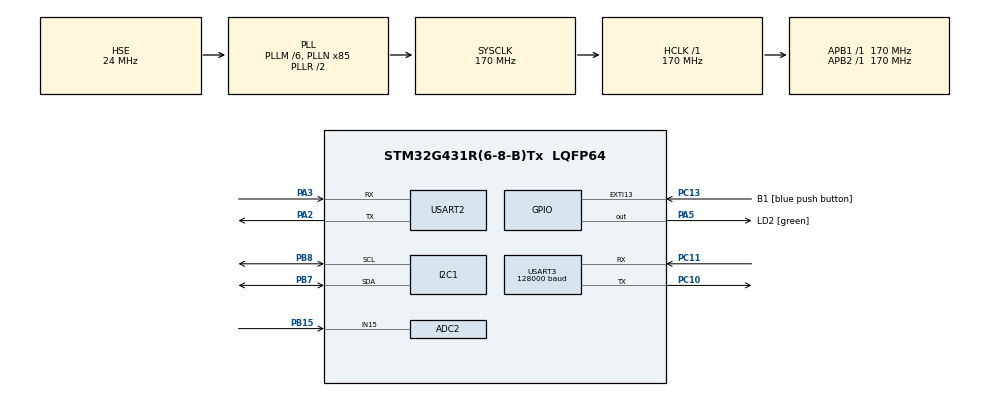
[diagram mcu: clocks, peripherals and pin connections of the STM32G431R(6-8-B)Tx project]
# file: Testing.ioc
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ADC2.Channel-0\#ChannelRegularConversion=ADC_CHANNEL_15
ADC2.DMAContinuousRequests=ENABLE
ADC2.ExternalTrigConv=ADC_EXTERNALTRIG_T6_TRGO
ADC2.NbrOfConversion=1
ADC2.NbrOfConversionFlag=1
ADC2.OffsetNumber-0\#ChannelRegularConversion=ADC_OFFSET_NONE
ADC2.Rank-0\#ChannelRegularConversion=1
ADC2.SamplingTime-0\#ChannelRegularConversion=ADC_SAMPLETIME_2CYCLES_5
Dma.ADC2.0.Direction=DMA_PERIPH_TO_MEMORY
Dma.ADC2.0.EventEnable=DISABLE
Dma.ADC2.0.Instance=DMA1_Channel1
Dma.ADC2.0.MemDataAlignment=DMA_MDATAALIGN_HALFWORD
Dma.ADC2.0.MemInc=DMA_MINC_ENABLE
Dma.ADC2.0.Mode=DMA_CIRCULAR
Dma.ADC2.0.PeriphDataAlignment=DMA_PDATAALIGN_HALFWORD
Dma.ADC2.0.PeriphInc=DMA_PINC_DISABLE
Dma.ADC2.0.Polarity=HAL_DMAMUX_REQ_GEN_RISING
Dma.ADC2.0.Priority=DMA_PRIORITY_LOW
Dma.ADC2.0.RequestNumber=1
Dma.ADC2.0.SignalID=NONE
Dma.ADC2.0.SyncEnable=DISABLE
Dma.ADC2.0.SyncPolarity=HAL_DMAMUX_SYNC_NO_EVENT
Dma.ADC2.0.SyncRequestNumber=1
Dma.ADC2.0.SyncSignalID=NONE
Dma.Request0=ADC2
I2C1.Timing=0x40B285C2
Mcu.Family=STM32G4
Mcu.Name=STM32G431R(6-8-B)Tx
Mcu.Package=LQFP64
NVIC.DMA1_Channel1_IRQn=true\:0\:0\:false\:false\:true\:false\:true\:true
NVIC.PriorityGroup=NVIC_PRIORITYGROUP_4
NVIC.TIM6_DAC_IRQn=true\:0\:0\:false\:false\:true\:true\:true\:true
PA13.GPIO_Label=T_SWDIO
PA13.Mode=Trace_Asynchronous_SW
PA13.Signal=SYS_JTMS-SWDIO
PA14.GPIO_Label=T_SWCLK
PA14.Mode=Trace_Asynchronous_SW
PA14.Signal=SYS_JTCK-SWCLK
PA2.Mode=Asynchronous
PA2.Signal=USART2_TX
PA3.Mode=Asynchronous
PA3.Signal=USART2_RX
PA5.GPIO_Label=LD2 [green]
PA5.Signal=GPIO_Output
PB15.Mode=IN15-Single-Ended
PB15.Signal=ADC2_IN15
PB3.GPIO_Label=T_SWO
PB3.Mode=Trace_Asynchronous_SW
PB3.Signal=SYS_JTDO-SWO
PB7.Mode=I2C
PB7.Signal=I2C1_SDA
PB8-BOOT0.Mode=I2C
PB8-BOOT0.Signal=I2C1_SCL
PC10.Mode=Asynchronous
PC10.Signal=USART3_TX
PC11.Mode=Asynchronous
PC11.Signal=USART3_RX
PC13.GPIO_Label=B1 [blue push button]
PC13.Signal=GPXTI13
PC14-OSC32_IN.GPIO_Label=RCC_OSC32_OUT
PC14-OSC32_IN.Signal=RCC_OSC32_IN
PC15-OSC32_OUT.GPIO_Label=RCC_OSC32_OUT
PC15-OSC32_OUT.Signal=RCC_OSC32_OUT
PF0-OSC_IN.GPIO_Label=RCC_OSC_IN
PF0-OSC_IN.Mode=HSE-External-Oscillator
PF0-OSC_IN.Signal=RCC_OSC_IN
PF1-OSC_OUT.GPIO_Label=RCC_OSC_OUT
PF1-OSC_OUT.Mode=HSE-External-Oscillator
PF1-OSC_OUT.Signal=RCC_OSC_OUT
ProjectManager.HeapSize=0x200
ProjectManager.StackSize=0x400
ProjectManager.TargetToolchain=STM32CubeIDE
RCC.ADC12Freq_Value=170000000
RCC.AHBFreq_Value=170000000
RCC.APB1Freq_Value=170000000
RCC.APB1TimFreq_Value=170000000
RCC.APB2Freq_Value=170000000
RCC.APB2TimFreq_Value=170000000
RCC.CortexFreq_Value=170000000
RCC.EXTERNAL_CLOCK_VALUE=12288000
RCC.HCLKFreq_Value=170000000
RCC.HSE_VALUE=24000000
RCC.HSI48_VALUE=48000000
RCC.HSI_VALUE=16000000
RCC.LSE_VALUE=32768
RCC.PLLM=RCC_PLLM_DIV6
RCC.PLLN=85
RCC.PLLSourceVirtual=RCC_PLLSOURCE_HSE
RCC.RTCClockSelection=RCC_RTCCLKSOURCE_LSE
RCC.SYSCLKFreq_VALUE=170000000
RCC.SYSCLKSource=RCC_SYSCLKSOURCE_PLLCLK
RCC.USBFreq_Value=170000000
RCC.VCOOutputFreq_Value=340000000
TIM6.PeriodNoDither=9999
TIM6.Prescaler=169
TIM6.TIM_MasterOutputTrigger=TIM_TRGO_UPDATE
USART2.VirtualMode-Asynchronous=VM_ASYNC
USART3.BaudRate=128000
USART3.VirtualMode-Asynchronous=VM_ASYNC
VP_SYS_VS_DBSignals.Mode=DisableDeadBatterySignals
VP_TIM6_VS_ClockSourceINT.Mode=Enable_Timer
board=NUCLEO-G431RB

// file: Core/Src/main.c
/* USER CODE BEGIN Header */
/**
 ******************************************************************************
 * @file           : main.c
 * @brief          : Main program body
 ******************************************************************************
 * @attention
 *
 * Authors : CHARLOTTE & MARIE
 *
 * Copyright (c) 2024 STMicroelectronics.
 * All rights reserved.
 *
 * This software is licensed under terms that can be found in the LICENSE file
 * in the root directory of this software component.
 * If no LICENSE file comes with this software, it is provided AS-IS.
 *
 ******************************************************************************
 */
/* USER CODE END Header */
#include "main.h"
#include "adc.h"
#include "dma.h"
#include "i2c.h"
#include "tim.h"
#include "usart.h"
#include "gpio.h"

/* USER CODE BEGIN Includes */
#include "X4_driver.h"
#include "ssd1306.h"
#include "ssd1306_tests.h"
#include <stdbool.h>
#include <stdio.h>
#include <string.h>
/* USER CODE END Includes */

/* USER CODE BEGIN PD */
//#define SSD1306TEST
#define ADC_DMA
/* USER CODE END PD */

void SystemClock_Config(void);

/* USER CODE BEGIN 0 */
int __io_putchar(int chr)
{
	HAL_UART_Transmit(&huart2, (uint8_t*)&chr, 1, HAL_MAX_DELAY);
	return chr;
}

uint32_t adc_value = 0;
volatile uint8_t adc_ready = 0; // Flag pour indiquer que la valeur est prête à être afficher

void HAL_ADC_ConvCpltCallback(ADC_HandleTypeDef *hadc)
{
	if (ADC2 == hadc->Instance)
	{
		//adc_ready = 1;
		// Si la valeur ADC est supérieure à 1000 (la distance avec le capteur est élevée, mettre le flag à 1
		if (adc_value < 1000)
		{
			adc_ready = 1;
		}
	}
}
/* USER CODE END 0 */

int main(void)
{

  /* MCU Configuration--------------------------------------------------------*/

  /* Reset of all peripherals, Initializes the Flash interface and the Systick. */
  HAL_Init();

  /* Configure the system clock */
  SystemClock_Config();

  /* Initialize all configured peripherals */
  MX_GPIO_Init();
  MX_DMA_Init();
  MX_USART2_UART_Init();
  MX_USART3_UART_Init();
  MX_I2C1_Init();
  MX_ADC2_Init();
  MX_TIM6_Init();
  /* USER CODE BEGIN 2 */

	//printf("hello\r\n");

#ifdef ADC_DMA

	HAL_ADC_Start_DMA(&hadc2, &adc_value, 1);
	HAL_TIM_Base_Start(&htim6);

#endif

  /* USER CODE END 2 */

  /* Infinite loop */
  /* USER CODE BEGIN WHILE */
	while (1)
	{
		/*uint16_t distance = DistanceSensor_GetDistance();

  // Faire quelque chose avec la distance (par exemple, l'envoyer par UART)
  printf("adc_value: %lu \r\n", distance);
  HAL_Delay(1000);  // Délai de 1000 ms*/

#ifdef ADC

	HAL_ADC_Start(&hadc2);
	HAL_ADC_PollForConversion(&hadc2, HAL_MAX_DELAY);
	adc_value = HAL_ADC_GetValue(&hadc2);

	printf("adc_value %lu\r\n", adc_value);
	HAL_Delay(500);
#endif

#ifdef ADC_DMA

	// Vérifier si une nouvelle valeur ADC est prête et que le flag est actif
	if (adc_ready == 1)
	{

		printf("adc_value %lu\r\n", adc_value);
		// Réinitialiser le flag après l'affichage
		adc_ready = 0;
	}

	HAL_Delay(500);
#endif

    /* USER CODE END WHILE */

	}
}

void SystemClock_Config(void)
{
  RCC_OscInitTypeDef RCC_OscInitStruct = {0};
  RCC_ClkInitTypeDef RCC_ClkInitStruct = {0};

  /** Configure the main internal regulator output voltage
  */
  HAL_PWREx_ControlVoltageScaling(PWR_REGULATOR_VOLTAGE_SCALE1_BOOST);

  /** Initializes the RCC Oscillators according to the specified parameters
  * in the RCC_OscInitTypeDef structure.
  */
  RCC_OscInitStruct.OscillatorType = RCC_OSCILLATORTYPE_HSE;
  RCC_OscInitStruct.HSEState = RCC_HSE_ON;
  RCC_OscInitStruct.PLL.PLLState = RCC_PLL_ON;
  RCC_OscInitStruct.PLL.PLLSource = RCC_PLLSOURCE_HSE;
  RCC_OscInitStruct.PLL.PLLM = RCC_PLLM_DIV6;
  RCC_OscInitStruct.PLL.PLLN = 85;
  RCC_OscInitStruct.PLL.PLLP = RCC_PLLP_DIV2;
  RCC_OscInitStruct.PLL.PLLQ = RCC_PLLQ_DIV2;
  RCC_OscInitStruct.PLL.PLLR = RCC_PLLR_DIV2;
  if (HAL_RCC_OscConfig(&RCC_OscInitStruct) != HAL_OK)
  {
    Error_Handler();
  }

  /** Initializes the CPU, AHB and APB buses clocks
  */
  RCC_ClkInitStruct.ClockType = RCC_CLOCKTYPE_HCLK|RCC_CLOCKTYPE_SYSCLK
                              |RCC_CLOCKTYPE_PCLK1|RCC_CLOCKTYPE_PCLK2;
  RCC_ClkInitStruct.SYSCLKSource = RCC_SYSCLKSOURCE_PLLCLK;
  RCC_ClkInitStruct.AHBCLKDivider = RCC_SYSCLK_DIV1;
  RCC_ClkInitStruct.APB1CLKDivider = RCC_HCLK_DIV1;
  RCC_ClkInitStruct.APB2CLKDivider = RCC_HCLK_DIV1;

  if (HAL_RCC_ClockConfig(&RCC_ClkInitStruct, FLASH_LATENCY_4) != HAL_OK)
  {
    Error_Handler();
  }
}

void Error_Handler(void)
{
	__disable_irq();
	while (1)
	{
	}
}
